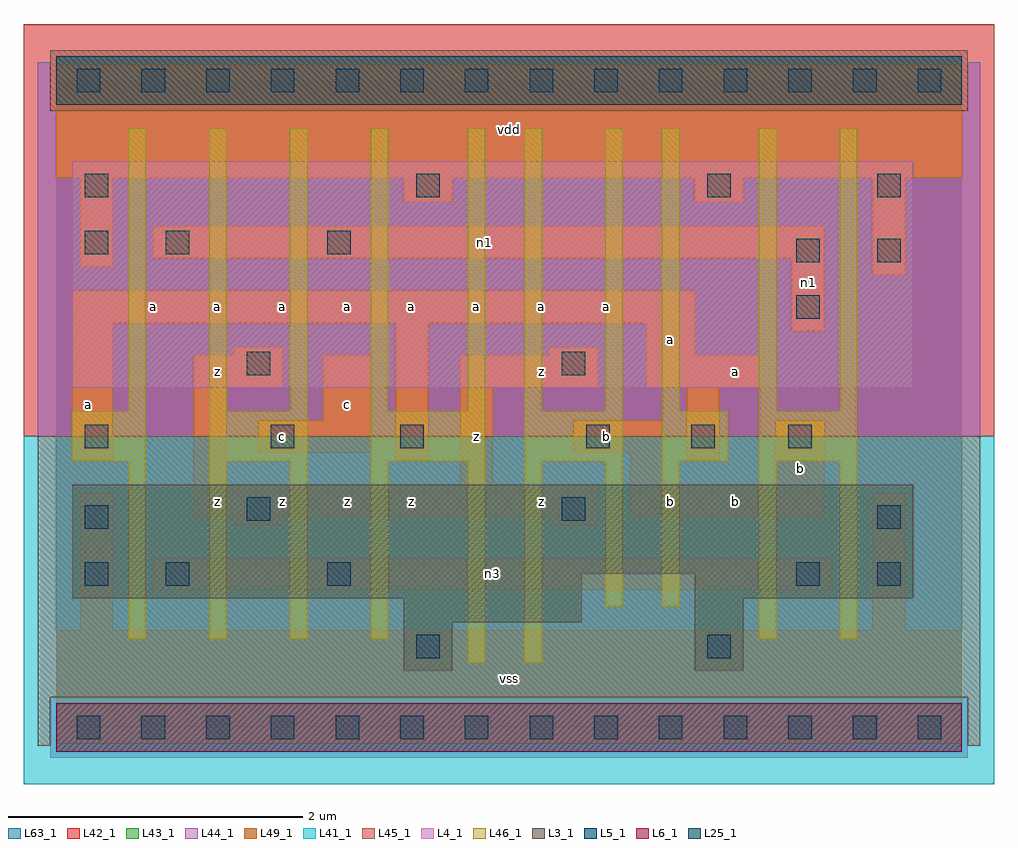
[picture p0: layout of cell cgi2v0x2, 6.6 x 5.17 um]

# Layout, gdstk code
import gdstk
lib = gdstk.Library(unit=1e-6, precision=1e-09)
def R(c, l, rs):  # rectangles x0, y0, x1, y1
    for r in rs: c.add(gdstk.rectangle(r[:2], r[2:], *l))
def A(c, l, x, y, w, h, nx, ny, dx, dy):  # array of equal rectangles
    R(c, l, [(x+i*dx, y+j*dy, x+i*dx+w, y+j*dy+h) for i in range(nx) for j in range(ny)])
L3_1 = (3, 1)
L4_1 = (4, 1)
L5_1 = (5, 1)
L6_1 = (6, 1)
L25_1 = (25, 1)
L41_1 = (41, 1)
L42_1 = (42, 1)
L43_1 = (43, 1)
L44_1 = (44, 1)
L45_1 = (45, 1)
L46_1 = (46, 1)
L49_1 = (49, 1)
L63_1 = (63, 1)

cgi2v0x2 = lib.new_cell('cgi2v0x2')
R(cgi2v0x2, L3_1, [(2.365,0.385,2.695,0.715), (4.345,0.385,4.675,0.88), (2.365,0.715,3.575,0.88), (0.11,0.88,3.575,1.045), (4.345,0.88,5.83,1.045), (0.11,1.045,5.83,1.65)])
R(cgi2v0x2, L4_1, [(0.11,2.31,5.83,3.85)])
R(cgi2v0x2, L5_1, [(0,4.235,6.16,4.565)])
R(cgi2v0x2, L6_1, [(0,-0.165,6.16,0.165)])
A(cgi2v0x2, L25_1, 0.14, -0.08, 0.16, 0.16, 14, 2, 0.44, 4.4)
R(cgi2v0x2, L25_1, [(2.45,0.47,2.61,0.63), (4.43,0.47,4.59,0.63), (0.195,0.965,0.355,1.125), (0.745,0.965,0.905,1.125), (1.845,0.965,2.005,1.125), (5.035,0.965,5.195,1.125), (5.585,0.965,5.745,1.125), (0.195,1.35,0.355,1.51), (5.585,1.35,5.745,1.51), (1.295,1.405,1.455,1.565), (3.44,1.405,3.6,1.565), (0.195,1.9,0.355,2.06), (1.46,1.9,1.62,2.06), (2.34,1.9,2.5,2.06), (3.605,1.9,3.765,2.06), (4.32,1.9,4.48,2.06), (4.98,1.9,5.14,2.06), (1.295,2.395,1.455,2.555), (3.44,2.395,3.6,2.555), (5.035,2.78,5.195,2.94), (5.035,3.165,5.195,3.325), (5.585,3.165,5.745,3.325), (0.195,3.22,0.355,3.38), (0.745,3.22,0.905,3.38), (1.845,3.22,2.005,3.38), (0.195,3.605,0.355,3.765), (2.45,3.605,2.61,3.765), (4.43,3.605,4.59,3.765), (5.585,3.605,5.745,3.765)])
R(cgi2v0x2, L41_1, [(-0.22,-0.385,6.38,1.98)])
R(cgi2v0x2, L42_1, [(-0.22,1.98,6.38,4.785)])
R(cgi2v0x2, L43_1, [(0,-0.165,6.16,0.165), (2.365,0.385,2.695,0.715), (4.345,0.385,4.675,0.88), (2.365,0.715,3.575,0.88), (0.11,0.88,3.575,1.045), (4.345,0.88,5.83,1.045), (0.11,1.045,5.83,1.65), (0.11,2.31,5.83,3.85), (0,4.235,6.16,4.565)])
R(cgi2v0x2, L44_1, [(-0.04,-0.205,6.2,0.205), (-0.125,1.98,6.285,4.195), (-0.125,4.195,-0.04,4.525), (6.2,4.195,6.285,4.525)])
R(cgi2v0x2, L45_1, [(-0.125,-0.125,-0.04,0.205), (6.2,-0.125,6.285,0.205), (-0.125,0.205,6.285,1.98), (-0.04,4.195,6.2,4.605)])
A(cgi2v0x2, L46_1, 0.49, 0.6, 0.12, 1.21, 4, 1, 0.55, 0)
A(cgi2v0x2, L46_1, 0.49, 2.15, 0.12, 1.925, 4, 1, 0.55, 0)
R(cgi2v0x2, L46_1, [(2.8,0.435,2.92,1.81), (3.185,0.435,3.305,1.81), (4.78,0.6,4.9,1.81), (5.33,0.6,5.45,1.81), (3.735,0.82,3.855,1.81), (4.12,0.82,4.24,1.81), (0.105,1.81,0.61,2.15), (1.04,1.81,1.71,2.15), (2.14,1.81,2.92,2.15), (3.185,1.81,3.855,2.15), (4.12,1.81,4.57,2.15), (4.78,1.81,5.45,2.15), (2.8,2.15,2.92,4.075), (3.185,2.15,3.305,4.075), (3.735,2.15,3.855,4.075), (4.12,2.15,4.24,4.075), (4.78,2.15,4.9,4.075), (5.33,2.15,5.45,4.075)])
R(cgi2v0x2, L49_1, [(0,-0.11,6.16,0.66), (0.165,0.66,0.385,1.595), (5.555,0.66,5.775,1.595), (0.66,0.935,5.28,1.155), (1.21,1.375,1.54,1.43), (3.355,1.375,3.685,1.43), (0.935,1.43,3.685,1.65), (3.905,1.43,5.225,1.65), (0.935,1.65,1.155,2.31), (2.75,1.65,2.97,2.31), (3.905,1.65,4.125,1.87), (4.895,1.65,5.225,2.09), (0.11,1.815,0.385,2.75), (2.31,1.815,2.53,2.75), (4.29,1.815,4.51,2.31), (1.375,1.87,2.145,2.09), (3.52,1.87,4.125,2.09), (1.815,2.09,2.145,2.53), (0.935,2.31,1.54,2.53), (2.75,2.31,3.685,2.53), (4.015,2.31,4.785,2.53), (1.21,2.53,1.54,2.585), (3.355,2.53,3.685,2.585), (4.015,2.53,4.345,2.75), (5.005,2.695,5.225,3.19), (0.11,2.75,4.345,2.97), (5.555,3.08,5.775,3.74), (0.165,3.135,0.385,3.74), (0.66,3.19,5.225,3.41), (2.365,3.575,2.695,3.74), (4.345,3.575,4.675,3.74), (0,3.74,6.16,4.51)])
R(cgi2v0x2, L63_1, [(0,0,6.16,4.4)])
cgi2v0x2.add(gdstk.Label('a', (0.22,2.2), layer=49, texttype=1))
cgi2v0x2.add(gdstk.Label('a', (0.66,2.86), layer=49, texttype=1))
cgi2v0x2.add(gdstk.Label('z', (1.1,1.54), layer=49, texttype=1))
cgi2v0x2.add(gdstk.Label('z', (1.98,1.54), layer=49, texttype=1))
cgi2v0x2.add(gdstk.Label('z', (1.54,1.54), layer=49, texttype=1))
cgi2v0x2.add(gdstk.Label('z', (1.1,2.42), layer=49, texttype=1))
cgi2v0x2.add(gdstk.Label('c', (1.98,2.2), layer=49, texttype=1))
cgi2v0x2.add(gdstk.Label('c', (1.54,1.98), layer=49, texttype=1))
cgi2v0x2.add(gdstk.Label('a', (1.98,2.86), layer=49, texttype=1))
cgi2v0x2.add(gdstk.Label('a', (1.54,2.86), layer=49, texttype=1))
cgi2v0x2.add(gdstk.Label('a', (1.1,2.86), layer=49, texttype=1))
cgi2v0x2.add(gdstk.Label('vss', (3.08,0.33), layer=49, texttype=1))
cgi2v0x2.add(gdstk.Label('z', (2.42,1.54), layer=49, texttype=1))
cgi2v0x2.add(gdstk.Label('z', (3.3,1.54), layer=49, texttype=1))
cgi2v0x2.add(gdstk.Label('z', (3.3,2.42), layer=49, texttype=1))
cgi2v0x2.add(gdstk.Label('z', (2.86,1.98), layer=49, texttype=1))
cgi2v0x2.add(gdstk.Label('a', (3.3,2.86), layer=49, texttype=1))
cgi2v0x2.add(gdstk.Label('a', (2.86,2.86), layer=49, texttype=1))
cgi2v0x2.add(gdstk.Label('a', (2.42,2.86), layer=49, texttype=1))
cgi2v0x2.add(gdstk.Label('vdd', (3.08,4.07), layer=49, texttype=1))
cgi2v0x2.add(gdstk.Label('b', (4.62,1.54), layer=49, texttype=1))
cgi2v0x2.add(gdstk.Label('b', (4.18,1.54), layer=49, texttype=1))
cgi2v0x2.add(gdstk.Label('b', (3.74,1.98), layer=49, texttype=1))
cgi2v0x2.add(gdstk.Label('a', (4.62,2.42), layer=49, texttype=1))
cgi2v0x2.add(gdstk.Label('a', (4.18,2.64), layer=49, texttype=1))
cgi2v0x2.add(gdstk.Label('a', (3.74,2.86), layer=49, texttype=1))
cgi2v0x2.add(gdstk.Label('n3', (2.97,1.045), layer=49, texttype=1))
cgi2v0x2.add(gdstk.Label('b', (5.06,1.76), layer=49, texttype=1))
cgi2v0x2.add(gdstk.Label('n1', (5.115,3.025), layer=49, texttype=1))
cgi2v0x2.add(gdstk.Label('n1', (2.915,3.3), layer=49, texttype=1))

lib.write_gds('cgi2v0x2.gds')
